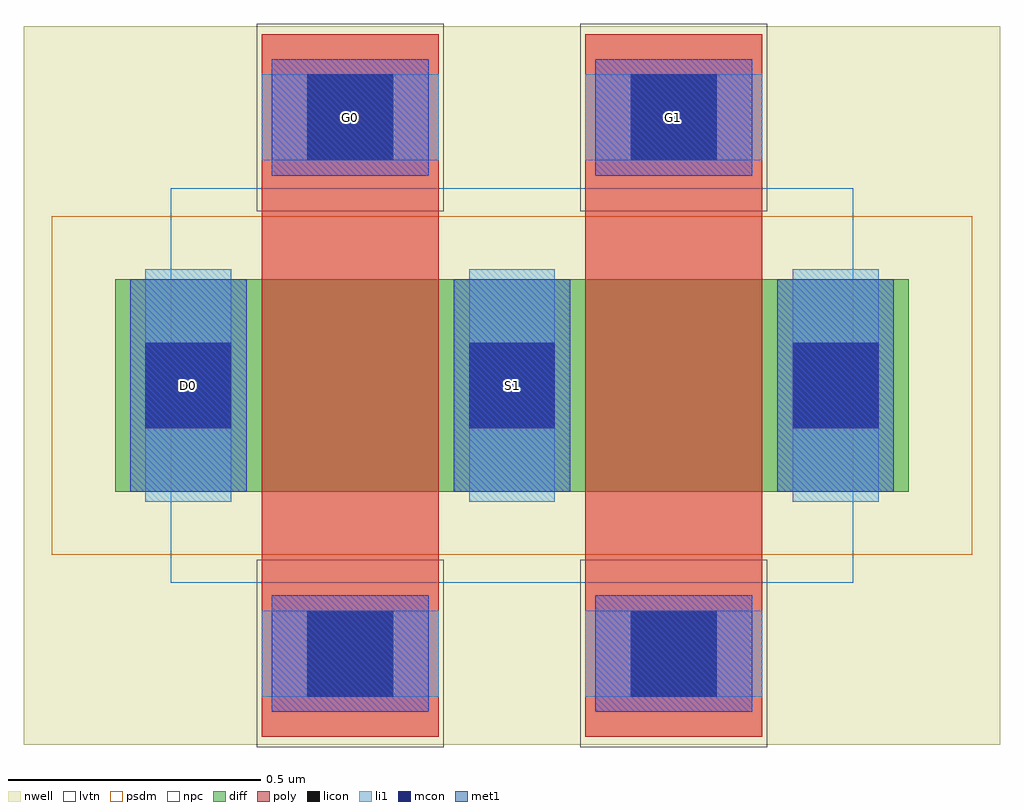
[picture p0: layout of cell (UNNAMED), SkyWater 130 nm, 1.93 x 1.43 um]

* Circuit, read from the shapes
.subckt (UNNAMED) D0 G0 G1 S1
XM1 S1 G0 D0 n1 sky130_fd_pr__pfet_01v8_lvt w=0.42 l=0.35
XM2 n2 G1 S1 n1 sky130_fd_pr__pfet_01v8_lvt w=0.42 l=0.35
.ends

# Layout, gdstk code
import gdstk
lib = gdstk.Library(unit=1e-6, precision=1e-09)
def R(c, l, rs):  # rectangles x0, y0, x1, y1
    for r in rs: c.add(gdstk.rectangle(r[:2], r[2:], *l))
def A(c, l, x, y, w, h, nx, ny, dx, dy):  # array of equal rectangles
    R(c, l, [(x+i*dx, y+j*dy, x+i*dx+w, y+j*dy+h) for i in range(nx) for j in range(ny)])
nwell = (64, 20)
diff = (65, 20)
poly = (66, 20)
licon = (66, 44)
li1 = (67, 20)
mcon = (67, 44)
met1 = (68, 20)
psdm = (94, 20)
npc = (95, 20)
lvtn = (125, 44)

c__unnamed_ = lib.new_cell('(UNNAMED)')
R(c__unnamed_, nwell, [(-0.965,-0.71,0.965,0.71)])
R(c__unnamed_, diff, [(-0.785,-0.21,0.785,0.21)])
R(c__unnamed_, poly, [(-0.495,-0.695,-0.145,0.695), (0.145,-0.695,0.495,0.695)])
A(c__unnamed_, licon, -0.725, -0.085, 0.17, 0.17, 3, 1, 0.64, 0)
R(c__unnamed_, licon, [(-0.405,-0.615,-0.235,-0.445), (0.235,-0.615,0.405,-0.445), (-0.405,0.445,-0.235,0.615), (0.235,0.445,0.405,0.615)])
A(c__unnamed_, li1, -0.725, -0.23, 0.17, 0.46, 3, 1, 0.64, 0)
R(c__unnamed_, li1, [(-0.495,-0.615,-0.145,-0.445), (0.145,-0.615,0.495,-0.445), (-0.495,0.445,-0.145,0.615), (0.145,0.445,0.495,0.615)])
A(c__unnamed_, mcon, -0.725, -0.085, 0.17, 0.17, 3, 1, 0.64, 0)
R(c__unnamed_, mcon, [(-0.405,-0.615,-0.235,-0.445), (0.235,-0.615,0.405,-0.445), (-0.405,0.445,-0.235,0.615), (0.235,0.445,0.405,0.615)])
A(c__unnamed_, met1, -0.755, -0.21, 0.23, 0.42, 3, 1, 0.64, 0)
R(c__unnamed_, met1, [(-0.475,-0.645,-0.165,-0.415), (0.165,-0.645,0.475,-0.415), (-0.475,0.415,-0.165,0.645), (0.165,0.415,0.475,0.645)])
R(c__unnamed_, psdm, [(-0.91,-0.335,0.91,0.335)])
R(c__unnamed_, npc, [(-0.505,-0.715,-0.135,-0.345), (0.135,-0.715,0.505,-0.345), (-0.505,0.345,-0.135,0.715), (0.135,0.345,0.505,0.715)])
R(c__unnamed_, lvtn, [(-0.675,-0.39,0.675,0.39)])
c__unnamed_.add(gdstk.Label('D0', (-0.64,0), layer=67, texttype=5))
c__unnamed_.add(gdstk.Label('G0', (-0.32,0.53), layer=67, texttype=5))
c__unnamed_.add(gdstk.Label('S1', (0,0), layer=67, texttype=5))
c__unnamed_.add(gdstk.Label('G1', (0.32,0.53), layer=67, texttype=5))

lib.write_gds('_UNNAMED_.gds')
